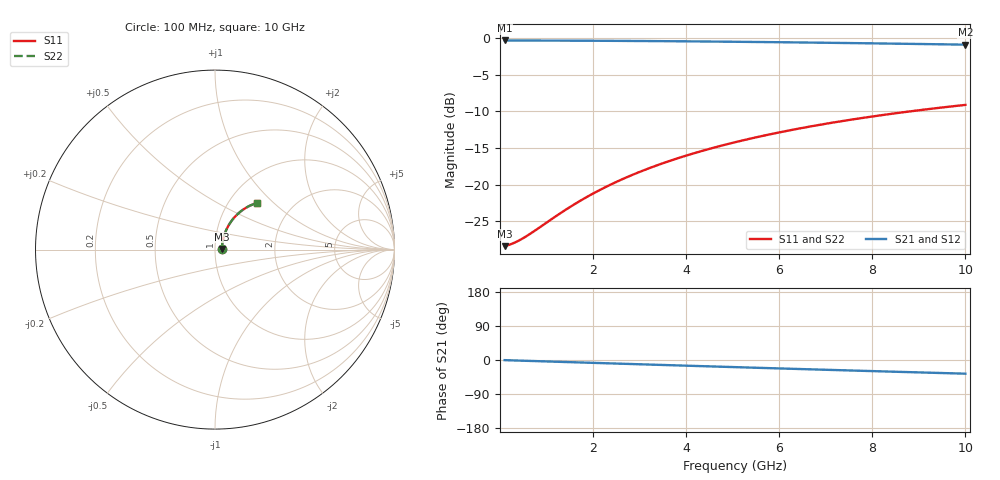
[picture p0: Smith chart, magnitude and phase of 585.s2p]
# Hz S RI R 50.00
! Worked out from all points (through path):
!   100 points, 100 MHz to 10 GHz, reference 50 ohm
!   highest |S21| = -0.33 dB at 100 MHz (marker M1); lowest = -0.9 dB at 10 GHz (marker M2)
!   group delay of S21, straight-line fit = 10 ps
!   lowest |S11| = -28.4 dB at 100 MHz (marker M3), VSWR 1.08, Z = 53.9 + j0.394 ohm
!   |S11| at or under -10 dB: start of sweep to 8.828 GHz
!   |S22| runs from -28.4 to -9.1 dB; largest |S21 - S12| = 0
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1e8  0.0378 0.00365  0.9622 -0.00634  0.9622 -0.00634  0.0378 0.00365
2e8  0.0381 0.00729  0.9619 -0.0127  0.9619 -0.0127  0.0381 0.00729
3e8  0.0384 0.0109  0.9615 -0.019  0.9615 -0.019  0.0384 0.0109
4e8  0.0387 0.0146  0.9612 -0.0253  0.9612 -0.0253  0.0387 0.0146
5e8  0.0391 0.0182  0.9608 -0.0316  0.9608 -0.0316  0.0391 0.0182
7e8  0.0398 0.0254  0.96 -0.0443  0.96 -0.0443  0.0398 0.0254
1.4e9  0.0439 0.0505  0.9554 -0.0882  0.9554 -0.0882  0.0439 0.0505
1.8e9  0.0471 0.0647  0.9516 -0.1131  0.9516 -0.1131  0.0471 0.0647
2.2e9  0.0511 0.0786  0.9471 -0.1378  0.9471 -0.1378  0.0511 0.0786
2.6e9  0.0557 0.0922  0.9417 -0.1622  0.9417 -0.1622  0.0557 0.0922
3e9  0.0611 0.1055  0.9355 -0.1863  0.9355 -0.1863  0.0611 0.1055
3.4e9  0.0671 0.1185  0.9286 -0.2101  0.9286 -0.2101  0.0671 0.1185
3.8e9  0.0737 0.1311  0.9209 -0.2335  0.9209 -0.2335  0.0737 0.1311
4.2e9  0.0809 0.1433  0.9124 -0.2565  0.9124 -0.2565  0.0809 0.1433
4.6e9  0.0888 0.1551  0.9033 -0.279  0.9033 -0.279  0.0888 0.1551
5.1e9  0.0993 0.1691  0.8909 -0.3066  0.8909 -0.3066  0.0993 0.1691
5.9e9  0.1178 0.1899  0.8691 -0.349  0.8691 -0.349  0.1178 0.1899
6.7e9  0.1381 0.2085  0.845 -0.3893  0.845 -0.3893  0.1381 0.2085
7.5e9  0.1598 0.2247  0.819 -0.4272  0.819 -0.4272  0.1598 0.2247
8.4e9  0.1856 0.2401  0.7877 -0.4671  0.7877 -0.4671  0.1856 0.2401
9.2e9  0.2094 0.2512  0.7584 -0.5  0.7584 -0.5  0.2094 0.2512
1e10  0.2338 0.2598  0.728 -0.5305  0.728 -0.5305  0.2338 0.2598
